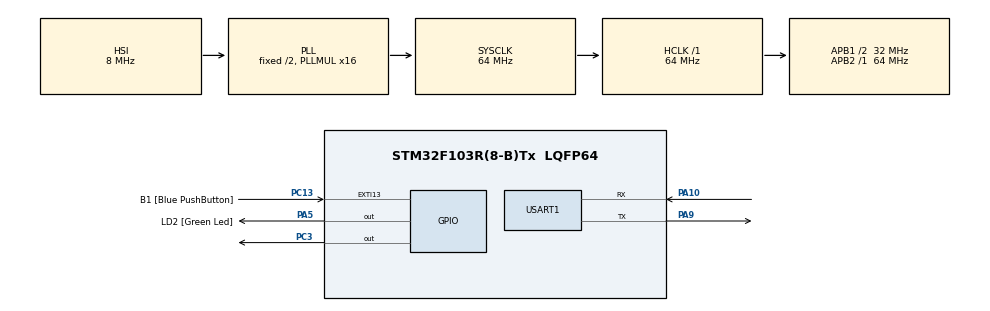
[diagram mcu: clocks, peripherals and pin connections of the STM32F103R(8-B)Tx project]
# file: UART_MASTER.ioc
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Mcu.Family=STM32F1
Mcu.Name=STM32F103R(8-B)Tx
Mcu.Package=LQFP64
NVIC.EXTI15_10_IRQn=true\:0\:0\:false\:false\:true\:true\:true\:true
NVIC.PriorityGroup=NVIC_PRIORITYGROUP_4
NVIC.USART1_IRQn=true\:0\:0\:false\:false\:true\:true\:true\:true
PA10.Mode=Asynchronous
PA10.Signal=USART1_RX
PA13.GPIO_Label=TMS
PA13.Mode=Serial_Wire
PA13.Signal=SYS_JTMS-SWDIO
PA14.GPIO_Label=TCK
PA14.Mode=Serial_Wire
PA14.Signal=SYS_JTCK-SWCLK
PA5.GPIO_Label=LD2 [Green Led]
PA5.GPIO_ModeDefaultOutputPP=GPIO_MODE_OUTPUT_PP
PA5.GPIO_PuPd=GPIO_NOPULL
PA5.GPIO_Speed=GPIO_SPEED_FREQ_LOW
PA5.Signal=GPIO_Output
PA9.Mode=Asynchronous
PA9.Signal=USART1_TX
PB3.GPIO_Label=SWO
PB3.Signal=SYS_JTDO-TRACESWO
PC13-TAMPER-RTC.GPIO_Label=B1 [Blue PushButton]
PC13-TAMPER-RTC.GPIO_PuPd=GPIO_NOPULL
PC13-TAMPER-RTC.Signal=GPXTI13
PC14-OSC32_IN.Mode=LSE-External-Oscillator
PC14-OSC32_IN.Signal=RCC_OSC32_IN
PC15-OSC32_OUT.Mode=LSE-External-Oscillator
PC15-OSC32_OUT.Signal=RCC_OSC32_OUT
PC3.Signal=GPIO_Output
PD0-OSC_IN.Mode=HSE-External-Clock-Source
PD0-OSC_IN.Signal=RCC_OSC_IN
PD1-OSC_OUT.Mode=HSE-External-Clock-Source
PD1-OSC_OUT.Signal=RCC_OSC_OUT
ProjectManager.HeapSize=0x200
ProjectManager.StackSize=0x400
ProjectManager.TargetToolchain=STM32CubeIDE
RCC.AHBFreq_Value=64000000
RCC.APB1CLKDivider=RCC_HCLK_DIV2
RCC.APB1Freq_Value=32000000
RCC.APB1TimFreq_Value=64000000
RCC.APB2Freq_Value=64000000
RCC.APB2TimFreq_Value=64000000
RCC.HCLKFreq_Value=64000000
RCC.PLLMUL=RCC_PLL_MUL16
RCC.RTCClockSelection=RCC_RTCCLKSOURCE_LSE
RCC.SYSCLKFreq_VALUE=64000000
RCC.SYSCLKSource=RCC_SYSCLKSOURCE_PLLCLK
RCC.USBFreq_Value=64000000
USART1.VirtualMode=VM_ASYNC
board=NUCLEO-F103RB

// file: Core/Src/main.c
/* USER CODE BEGIN Header */
/**
  ******************************************************************************
  * @file           : main.c
  * @brief          : Main program body
  ******************************************************************************
  * @attention
  *
  * Copyright (c) 2025 STMicroelectronics.
  * All rights reserved.
  *
  * This software is licensed under terms that can be found in the LICENSE file
  * in the root directory of this software component.
  * If no LICENSE file comes with this software, it is provided AS-IS.
  *
  ******************************************************************************
  */
/* USER CODE END Header */
#include "main.h"

/* USER CODE BEGIN Includes */
#include <stdio.h>
#include <string.h>
/* USER CODE END Includes */

/* USER CODE BEGIN PD */
#define DIR_CW            0
#define DIR_CCW           1

#define STEPPER_MOTOR1   0
#define SLAVE_ADRESS1 1
#define SLAVE_ADRESS2 2
#define SLAVE_ADRESS3 3
/* USER CODE END PD */

UART_HandleTypeDef huart1;

/* USER CODE BEGIN PV */
uint8_t M_RxData[1];
uint8_t M_TxData[7];
uint8_t M_last_trasmitted_adress = 0x00; // master listens the last adress it transmitted to
uint8_t M_command_H;
uint8_t M_command_L;
uint8_t M_data_H;
uint8_t M_data_L;

uint8_t M_counter = 0;
uint8_t M_is_start_byte = 0;
uint8_t M_is_adress_me = 0;
uint8_t M_is_error = 0;
uint8_t M_checksum = 0;

uint8_t M_step_rpm_speed = 5;

uint16_t M_step_remaining_steps;

uint8_t M_Step_direction = DIR_CW;

uint8_t M_Servo1_angle = 0;
uint8_t M_Servo2_angle = 0;

uint8_t k;
uint16_t Distance;

uint8_t camera_x_pos_H;
uint8_t camera_y_pos_H;
uint8_t camera_x_pos_L;
uint8_t camera_y_pos_L;

uint16_t camera_x_pos;
uint16_t camera_y_pos;

uint16_t steps = 0;
/* USER CODE END PV */

void SystemClock_Config(void);
static void MX_GPIO_Init(void);
static void MX_USART1_UART_Init(void);

/* USER CODE BEGIN 0 */
void calculate_checksum(uint8_t *data){
	data[6] = data[5]+data[4]+data[3]+data[2]+data[1];
}

uint8_t check_sum(uint8_t command_H, uint8_t command_L, uint8_t data_H, uint8_t data_L, uint8_t slave_adress){
	return (command_H + command_L + data_H + data_L + slave_adress);
}

float map( uint8_t data_H, uint8_t data_L, uint16_t max_val, uint16_t min_val){
    uint16_t bit16_val = ((uint16_t)data_H << 8) | data_L;
    return min_val + ( (float)(bit16_val) / 65535.0f ) * (max_val - min_val);
}

void generate_message(uint8_t* data ,uint8_t slave_adress, uint8_t command_H, uint8_t command_L, uint8_t data_H, uint8_t data_L){
	data[0] = 0xFF,
	data[1] = slave_adress;
	data[2] = command_H;
	data[3] = command_L;
	data[4] = data_H;
	data[5] = data_L;
	data[6] = 0x00;
}

void M_transmit_message(uint8_t *data, uint8_t slave_adress, uint8_t command_H, uint8_t command_L, uint8_t data_H, uint8_t data_L, uint8_t size){
	generate_message(data, slave_adress, command_H, command_L, data_H, data_L);
	calculate_checksum(data);
	HAL_GPIO_WritePin(GPIOC, GPIO_PIN_3, GPIO_PIN_SET);
	HAL_UART_Transmit_IT(&huart1, data, size);
	M_last_trasmitted_adress = slave_adress;
}

void M_Step_RPM_Write(uint8_t *data, uint8_t slave_adress, uint8_t speed){ //speed is between 14-0

	uint16_t result = (uint16_t)(((float)speed / 14.0f) * 65535.0f + 0.5f);
	uint8_t data_H = (result >> 8) & 0xFF;
	uint8_t data_L = result & 0xFF;
	M_transmit_message(data, slave_adress, 0x00, 0x5C, data_H, data_L,7);
	HAL_UARTEx_ReceiveToIdle_IT(&huart1, M_RxData, 1);
}

void M_Step_RPM_Read(uint8_t *data, uint8_t slave_adress){ //speed is between

	M_transmit_message(data, slave_adress, 0x00, 0x5F, 0x00, 0x00,7);
	HAL_UARTEx_ReceiveToIdle_IT(&huart1, M_RxData, 1);
}

void M_Step_remaining_steps_Write(uint8_t *data, uint8_t slave_adress, uint16_t remaining_steps){ // input is added to the number of steps remaining
	uint8_t data_H = (remaining_steps >> 8) & 0xFF;
	uint8_t data_L = remaining_steps & 0xFF;
	M_transmit_message(data, slave_adress, 0x00, 0x9C, data_H, data_L,7);
	HAL_UARTEx_ReceiveToIdle_IT(&huart1, M_RxData, 1);
}

void M_Step_remaining_steps_Read(uint8_t *data, uint8_t slave_adress){ // reads num of steps remaining

	M_transmit_message(data, slave_adress, 0x00, 0x9F, 0x00, 0x00,7);
	HAL_UARTEx_ReceiveToIdle_IT(&huart1, M_RxData, 1);
}

void M_Step_direction_Write(uint8_t *data, uint8_t slave_adress, uint8_t Step_direction){ // DIR_CW = 0 or DIR_CCW = 1

	M_transmit_message(data, slave_adress, 0x00, 0x7C, 0x00, Step_direction,7);
	HAL_UARTEx_ReceiveToIdle_IT(&huart1, M_RxData, 1);
}

void M_Step_direction_Read(uint8_t *data, uint8_t slave_adress){ // reads num of steps remaining

	M_transmit_message(data, slave_adress, 0x00, 0x7F, 0x00, 0x00,7);
	HAL_UARTEx_ReceiveToIdle_IT(&huart1, M_RxData, 1);
}

void M_Servo1_angle_Write(uint8_t *data, uint8_t slave_adress, uint8_t angle){

	M_transmit_message(data, slave_adress, 0x00, 0x1C, 0x00, angle,7);
	HAL_UARTEx_ReceiveToIdle_IT(&huart1, M_RxData, 1);

}

void M_Servo1_angle_Read(uint8_t *data, uint8_t slave_adress){
	M_transmit_message(data, slave_adress, 0x00, 0x1F, 0x00, 0x00,7);
	HAL_UARTEx_ReceiveToIdle_IT(&huart1, M_RxData, 1);

}

void M_Servo2_angle_Write(uint8_t *data, uint8_t slave_adress, uint8_t angle){

	M_transmit_message(data, slave_adress, 0x00, 0xBC, 0x00, angle,7);
	HAL_UARTEx_ReceiveToIdle_IT(&huart1, M_RxData, 1);

}

void M_Servo2_angle_Read(uint8_t *data, uint8_t slave_adress){
	M_transmit_message(data, slave_adress, 0x00, 0xBF, 0x00, 0x00,7);
	HAL_UARTEx_ReceiveToIdle_IT(&huart1, M_RxData, 1);

}

void M_Sensor_distance_Read(uint8_t *data, uint8_t slave_adress){
	M_transmit_message(data, slave_adress, 0x00, 0x2F, 0x00, 0x00,7);
	HAL_UARTEx_ReceiveToIdle_IT(&huart1, M_RxData, 1);

}

void M_Camera_x_pozition_Read(uint8_t *data, uint8_t slave_adress){
	M_transmit_message(data, slave_adress, 0x00, 0x4F, 0x00, 0x00,7);
	HAL_UARTEx_ReceiveToIdle_IT(&huart1, M_RxData, 1);

}

void M_Camera_y_pozition_Read(uint8_t *data, uint8_t slave_adress){
	M_transmit_message(data, slave_adress, 0x00, 0x6F, 0x00, 0x00,7);
	HAL_UARTEx_ReceiveToIdle_IT(&huart1, M_RxData, 1);

}
/* USER CODE END 0 */

int main(void)
{

  /* MCU Configuration--------------------------------------------------------*/

  /* Reset of all peripherals, Initializes the Flash interface and the Systick. */
  HAL_Init();

  /* Configure the system clock */
  SystemClock_Config();

  /* Initialize all configured peripherals */
  MX_GPIO_Init();
  MX_USART1_UART_Init();
  /* USER CODE BEGIN 2 */
  M_Step_RPM_Write(M_TxData, SLAVE_ADRESS1, 10);
  HAL_Delay(50);
  /* USER CODE END 2 */

  /* Infinite loop */
  /* USER CODE BEGIN WHILE */
  while (1)
  {

	  M_Camera_x_pozition_Read(M_TxData, SLAVE_ADRESS3);
	  HAL_Delay(150);
	  M_Sensor_distance_Read(M_TxData, SLAVE_ADRESS2);
	  HAL_Delay(150);

	  if(camera_x_pos > 1050)
	  {
		  M_Step_direction_Write(M_TxData, SLAVE_ADRESS1, 0);
		  HAL_Delay(20);
		  steps = (camera_x_pos - 950) * 30 / 950;
		  M_Step_remaining_steps_Write(M_TxData, SLAVE_ADRESS1, steps);
		  HAL_Delay(100);
	  }
	  else if(camera_x_pos < 850)
	  {
		  M_Step_direction_Write(M_TxData, SLAVE_ADRESS1, 1);
		  HAL_Delay(20);
		  steps = (950 - camera_x_pos) * 30 / 950;
		  M_Step_remaining_steps_Write(M_TxData, SLAVE_ADRESS1, steps);
		  HAL_Delay(100);
	  }
	  else
	  {
		  M_Step_remaining_steps_Write(M_TxData, SLAVE_ADRESS1, 0);
		  HAL_Delay(100);
	  }

    /* USER CODE END WHILE */

  }
}

void SystemClock_Config(void)
{
  RCC_OscInitTypeDef RCC_OscInitStruct = {0};
  RCC_ClkInitTypeDef RCC_ClkInitStruct = {0};

  /** Initializes the RCC Oscillators according to the specified parameters
  * in the RCC_OscInitTypeDef structure.
  */
  RCC_OscInitStruct.OscillatorType = RCC_OSCILLATORTYPE_HSI;
  RCC_OscInitStruct.HSIState = RCC_HSI_ON;
  RCC_OscInitStruct.HSICalibrationValue = RCC_HSICALIBRATION_DEFAULT;
  RCC_OscInitStruct.PLL.PLLState = RCC_PLL_ON;
  RCC_OscInitStruct.PLL.PLLSource = RCC_PLLSOURCE_HSI_DIV2;
  RCC_OscInitStruct.PLL.PLLMUL = RCC_PLL_MUL16;
  if (HAL_RCC_OscConfig(&RCC_OscInitStruct) != HAL_OK)
  {
    Error_Handler();
  }

  /** Initializes the CPU, AHB and APB buses clocks
  */
  RCC_ClkInitStruct.ClockType = RCC_CLOCKTYPE_HCLK|RCC_CLOCKTYPE_SYSCLK
                              |RCC_CLOCKTYPE_PCLK1|RCC_CLOCKTYPE_PCLK2;
  RCC_ClkInitStruct.SYSCLKSource = RCC_SYSCLKSOURCE_PLLCLK;
  RCC_ClkInitStruct.AHBCLKDivider = RCC_SYSCLK_DIV1;
  RCC_ClkInitStruct.APB1CLKDivider = RCC_HCLK_DIV2;
  RCC_ClkInitStruct.APB2CLKDivider = RCC_HCLK_DIV1;

  if (HAL_RCC_ClockConfig(&RCC_ClkInitStruct, FLASH_LATENCY_2) != HAL_OK)
  {
    Error_Handler();
  }
}

static void MX_USART1_UART_Init(void)
{

  huart1.Instance = USART1;
  huart1.Init.BaudRate = 115200;
  huart1.Init.WordLength = UART_WORDLENGTH_8B;
  huart1.Init.StopBits = UART_STOPBITS_1;
  huart1.Init.Parity = UART_PARITY_NONE;
  huart1.Init.Mode = UART_MODE_TX_RX;
  huart1.Init.HwFlowCtl = UART_HWCONTROL_NONE;
  huart1.Init.OverSampling = UART_OVERSAMPLING_16;
  if (HAL_UART_Init(&huart1) != HAL_OK)
  {
    Error_Handler();
  }

}

static void MX_GPIO_Init(void)
{
  GPIO_InitTypeDef GPIO_InitStruct = {0};

  /* GPIO Ports Clock Enable */
  __HAL_RCC_GPIOC_CLK_ENABLE();
  __HAL_RCC_GPIOD_CLK_ENABLE();
  __HAL_RCC_GPIOA_CLK_ENABLE();
  __HAL_RCC_GPIOB_CLK_ENABLE();

  /*Configure GPIO pin Output Level */
  HAL_GPIO_WritePin(GPIOC, GPIO_PIN_3, GPIO_PIN_RESET);

  /*Configure GPIO pin Output Level */
  HAL_GPIO_WritePin(LD2_GPIO_Port, LD2_Pin, GPIO_PIN_RESET);

  /*Configure GPIO pin : B1_Pin */
  GPIO_InitStruct.Pin = B1_Pin;
  GPIO_InitStruct.Mode = GPIO_MODE_IT_RISING;
  GPIO_InitStruct.Pull = GPIO_NOPULL;
  HAL_GPIO_Init(B1_GPIO_Port, &GPIO_InitStruct);

  /*Configure GPIO pin : PC3 */
  GPIO_InitStruct.Pin = GPIO_PIN_3;
  GPIO_InitStruct.Mode = GPIO_MODE_OUTPUT_PP;
  GPIO_InitStruct.Pull = GPIO_NOPULL;
  GPIO_InitStruct.Speed = GPIO_SPEED_FREQ_LOW;
  HAL_GPIO_Init(GPIOC, &GPIO_InitStruct);

  /*Configure GPIO pin : LD2_Pin */
  GPIO_InitStruct.Pin = LD2_Pin;
  GPIO_InitStruct.Mode = GPIO_MODE_OUTPUT_PP;
  GPIO_InitStruct.Pull = GPIO_NOPULL;
  GPIO_InitStruct.Speed = GPIO_SPEED_FREQ_LOW;
  HAL_GPIO_Init(LD2_GPIO_Port, &GPIO_InitStruct);

  /* EXTI interrupt init*/
  HAL_NVIC_SetPriority(EXTI15_10_IRQn, 0, 0);
  HAL_NVIC_EnableIRQ(EXTI15_10_IRQn);

}

/* USER CODE BEGIN 4 */
void HAL_UARTEx_RxEventCallback(UART_HandleTypeDef *huart, uint16_t Size)
{

	if(huart->Instance == USART1){	//master

		if((M_is_start_byte == 0) & (M_RxData[0] == 0xFF) &(M_is_error == 0)){ // start byte arrived
			M_is_start_byte = 1;
			M_counter++;;
			}
		else if((M_is_start_byte == 1) & (M_RxData[0] == M_last_trasmitted_adress) & (M_counter == 1) & (M_is_error == 0)){ // adress belongs to the slave
			M_is_adress_me = 1;
			M_counter++;
			}
		else if((M_is_start_byte == 1) & (M_is_adress_me == 0) & (M_counter > 0) & (M_counter < 8) & (M_is_error == 0)){ // adress does not belong to the slave
			if(M_counter == 7){ // end of the message
				M_is_error = 0;
				M_counter = 0;
				M_is_start_byte = 0;
				M_is_adress_me = 0;
				}
			else{
				M_counter++;
				}
			}
		else if((M_is_start_byte == 1) & (M_is_adress_me == 1) & (M_is_error == 0) & (M_counter > 1) & (M_counter < 8)){ // take the message whose adress belongs to slave
			switch(M_counter){
			case 2:
				M_command_H = M_RxData[0]; // take the high byte of command
				M_counter++;
				break;

			case 3:
				M_command_L = M_RxData[0];// take the low byte of command
				M_counter++;
				break;

			case 4:
				M_data_H = M_RxData[0]; // take the high byte of data
				M_counter++;
				break;

			case 5:

				M_data_L = M_RxData[0]; // take the low byte of data
				M_counter++;
				break;

			case 6:// take the check sum
				M_checksum = M_RxData[0];
				if(check_sum(M_command_H,M_command_L,M_data_H,M_data_L, M_last_trasmitted_adress) == M_checksum){ //check
					switch(M_command_L){

					case 0x17:
						M_Servo1_angle = M_data_L;
						break;

					case 0x57:
						M_step_rpm_speed = map(M_data_H,M_data_L,14,0);
						break;

					case 0x97:
						M_step_remaining_steps = ((uint16_t)M_data_H << 8) | M_data_L;

						break;

					case 0x77:
						M_Step_direction = M_data_L;
						break;

					case 0xB7:
						M_Servo2_angle = M_data_L;
						break;

					case 0x27:
						Distance = M_data_L;
						break;

					case 0x47:
						camera_x_pos_H = M_data_H;
						camera_x_pos_L = M_data_L;
						camera_x_pos = ((uint16_t)camera_x_pos_H << 8) | camera_x_pos_L;
						break;

					case 0x67:
						camera_y_pos_H = M_data_H;
						camera_y_pos_L = M_data_L;
						camera_y_pos = ((uint16_t)camera_y_pos_H << 8) | camera_y_pos_L;
						break;

					default:
						break;

					}

					M_is_error = 0; //end of the message
					M_counter = 0;
					M_is_start_byte = 0;
					M_is_adress_me = 0;
					}
				else{ //error in transmission
					M_is_error = 1; //end of the message
					M_counter = 0;
					M_is_start_byte = 0;
					M_is_adress_me = 0;
					}
				break;

			default:// error in the message
				M_is_error = 1;
				M_counter = 0;
				M_is_start_byte = 0;
				M_is_adress_me = 0;
				break;
			}
		}
		else{
			// error in the message
			M_is_error = 1;
		}
		HAL_UARTEx_ReceiveToIdle_IT(&huart1, M_RxData, 1);

	}
	else{
		M_is_error = 1;
		HAL_UARTEx_ReceiveToIdle_IT(&huart1, M_RxData, 1);
	}
}

void HAL_UART_TxCpltCallback(UART_HandleTypeDef *huart) {
    if (huart->Instance == USART1) {
    	HAL_GPIO_WritePin(GPIOC, GPIO_PIN_3, GPIO_PIN_RESET);
        // Send completed
    }
}
/* USER CODE END 4 */

void Error_Handler(void)
{
  __disable_irq();
  while (1)
  {
  }
}
